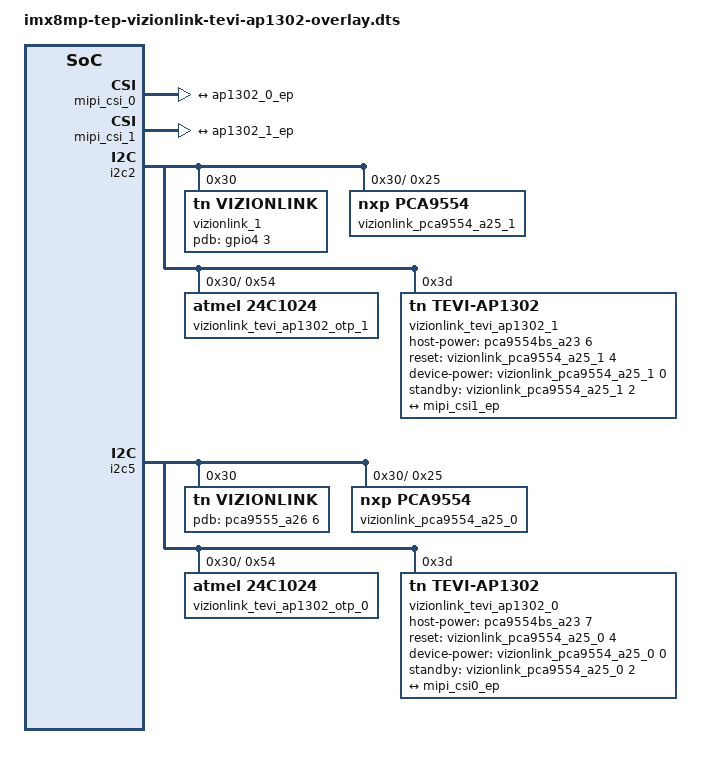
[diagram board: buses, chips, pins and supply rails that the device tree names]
// SPDX-License-Identifier: (GPL-2.0+ OR MIT)
/*
 * Copyright 2021 TechNexion Ltd.
 *
 */

/dts-v1/;
/plugin/;

#include <dt-bindings/interrupt-controller/irq.h>
#include <dt-bindings/clock/imx8mp-clock.h>
#include <dt-bindings/gpio/gpio.h>

/ {
	fragment@0 {
		target = <&mipi_csi_0>;
		__overlay__ {
			#address-cells = <1>;
			#size-cells = <0>;
			clock-frequency = <400000000>;
			status = "okay";

			port@0 {
				reg = <0>;
				mipi_csi0_ep: endpoint {
					remote-endpoint = <&ap1302_0_ep>;
					data-lanes = <4>;
					csis-hs-settle = <19>;
					csis-clk-settle = <2>;
					csis-wclk;
				};
			};
		};
	};

	fragment@1 {
		target = <&mipi_csi_1>;
		__overlay__ {
			#address-cells = <1>;
			#size-cells = <0>;
			clock-frequency = <400000000>;
			status = "okay";

			port@1 {
				reg = <1>;
				mipi_csi1_ep: endpoint {
					remote-endpoint = <&ap1302_1_ep>;
					data-lanes = <4>;
					csis-hs-settle = <19>;
					csis-clk-settle = <2>;
					csis-wclk;
				};
			};
		};
	};

	fragment@2 {
		target = <&i2c2>;
		__overlay__ {
			#address-cells = <1>;
			#size-cells = <0>;

			vizionlink_1: vizionlink@30 {
				compatible = "tn,vizionlink";
				reg = <0x30>;
				pinctrl-0 = <&pinctrl_csi2_pdb>;
				pdb-gpios = <&gpio4 3 GPIO_ACTIVE_HIGH>;
				ser_alias_id = <0x1b>;

				//i2c addr alias map "gpio extender, eeprom , sensor"
				i2c_addr_alias_map_local = <0x25 0x54 0x55 0x3d>;
				i2c_addr_alias_map_remote = <0x25 0x54 0x55 0x3d>;

				//deserializer output csi lanes 1~4. default 4
				des_csi_lanes = <4>;

				//1: Enable 0: Disable continuous clock. default 0
				des_csi_continuous_clock = <0>;

				//serializer input csi lanes 1~4. default 4
				ser_csi_lanes = <2>;

				//1: Enable 0: Disable continuous clock. default 0
				ser_csi_continuous_clock = <0>;

				status = "okay";

				i2c_dev_list {
					#address-cells = <1>;
					#size-cells = <0>;

					vizionlink_pca9554_a25_1: vizionlink_pca9554@25 {
						compatible = "nxp,pca9554";
						reg = <0x25>;
						gpio-controller;
						#gpio-cells = <2>;
						status = "okay";
					};

					vizionlink_tevi_ap1302_otp_1: eeprom@54 {
						compatible = "atmel,24c1024";
						pagesize = <128>;
						reg = <0x54>;
						//read-only;
					};
				};
			};

			vizionlink_tevi_ap1302_1: vizionlink_tevi_ap1302@3d {
				compatible = "tn,tevi-ap1302";
				reg = <0x3d>;

				host-power-gpios = <&pca9554bs_a23 6 GPIO_ACTIVE_HIGH>;
				reset-gpios = <&vizionlink_pca9554_a25_1 4 GPIO_ACTIVE_HIGH>;
				device-power-gpios = <&vizionlink_pca9554_a25_1 0 GPIO_ACTIVE_HIGH>;
				standby-gpios = <&vizionlink_pca9554_a25_1 2 GPIO_ACTIVE_HIGH>;
				nvmem = <&vizionlink_tevi_ap1302_otp_1>;
				nvmem-names = "calib-data";
				data-lanes = <2>;
				continuous-clock = <0>;
				status = "okay";


				port {
					ap1302_1_ep: endpoint {
						remote-endpoint = <&mipi_csi1_ep>;
					};
				};
			};
		};
	};

	fragment@3 {
		target = <&i2c5>;
		__overlay__ {
			#address-cells = <1>;
			#size-cells = <0>;

			vizionlink@30 {
				compatible = "tn,vizionlink";
				reg = <0x30>;
				pinctrl-names = "default";
				pdb-gpios = <&pca9555_a26 6 GPIO_ACTIVE_HIGH>;
				ser_alias_id = <0x1b>;

				//i2c addr alias map "gpio extender, eeprom , sensor"
				i2c_addr_alias_map_local = <0x25 0x54 0x55 0x3d>;
				i2c_addr_alias_map_remote = <0x25 0x54 0x55 0x3d>;

				//deserializer output csi lanes 1~4. default 4
				des_csi_lanes = <4>;

				//1: Enable 0: Disable continuous clock. default 0
				des_csi_continuous_clock = <0>;

				//serializer input csi lanes 1~4. default 4
				ser_csi_lanes = <2>;

				//1: Enable 0: Disable continuous clock. default 0
				ser_csi_continuous_clock = <0>;

				status = "okay";

				i2c_dev_list {
					#address-cells = <1>;
					#size-cells = <0>;

					vizionlink_pca9554_a25_0: vizionlink_pca9554@25 {
						compatible = "nxp,pca9554";
						reg = <0x25>;
						gpio-controller;
						#gpio-cells = <2>;
						status = "okay";
					};

					vizionlink_tevi_ap1302_otp_0: eeprom@54 {
						compatible = "atmel,24c1024";
						pagesize = <128>;
						reg = <0x54>;
						//read-only;
					};
				};
			};

			vizionlink_tevi_ap1302_0: vizionlink_tevi_ap1302@3d {
				compatible = "tn,tevi-ap1302";
				reg = <0x3d>;

				host-power-gpios = <&pca9554bs_a23 7 GPIO_ACTIVE_HIGH>;
				reset-gpios = <&vizionlink_pca9554_a25_0 4 GPIO_ACTIVE_HIGH>;
				device-power-gpios = <&vizionlink_pca9554_a25_0 0 GPIO_ACTIVE_HIGH>;
				standby-gpios = <&vizionlink_pca9554_a25_0 2 GPIO_ACTIVE_HIGH>;
				nvmem = <&vizionlink_tevi_ap1302_otp_0>;
				nvmem-names = "calib-data";
				data-lanes = <2>;
				continuous-clock = <0>;
				status = "okay";


				port {
					ap1302_0_ep: endpoint {
						remote-endpoint = <&mipi_csi0_ep>;
					};
				};
			};
		};
	};
};
